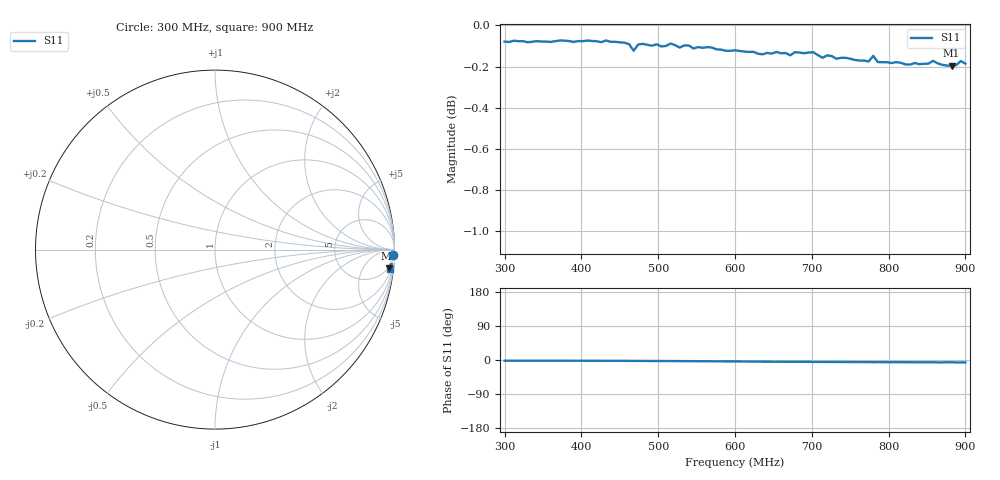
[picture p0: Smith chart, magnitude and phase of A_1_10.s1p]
# HZ S RI R 50
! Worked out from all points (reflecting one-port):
!   101 points, 300 MHz to 900 MHz, reference 50 ohm
!   lowest |S11| = -0.2 dB at 882 MHz (marker M1), VSWR 88.69, Z = 188 - j893 ohm
!   phase of S11 starts at -2 deg and turns -4 deg over the sweep
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3e8  0.9904 -0.0329
3.78e8  0.9909 -0.0334
4.5e8  0.9898 -0.0387
4.62e8  0.9887 -0.0406
4.68e8  0.9851 -0.041
4.74e8  0.9885 -0.0416
4.8e8  0.9888 -0.0428
5.04e8  0.9872 -0.0466
5.16e8  0.9887 -0.0484
5.28e8  0.9864 -0.0505
6e8  0.9841 -0.0647
6.36e8  0.9811 -0.0746
6.78e8  0.9817 -0.082
7.5e8  0.9772 -0.0918
7.74e8  0.9755 -0.0945
7.8e8  0.9783 -0.0968
7.86e8  0.975 -0.0955
8.28e8  0.9732 -0.1001
8.34e8  0.9737 -0.1031
8.46e8  0.9731 -0.1044
8.58e8  0.975 -0.1027
8.64e8  0.9731 -0.1071
8.7e8  0.9723 -0.1072
8.76e8  0.9723 -0.1031
8.82e8  0.9721 -0.1045
8.88e8  0.972 -0.1081
8.94e8  0.9744 -0.1073
9e8  0.973 -0.1071
